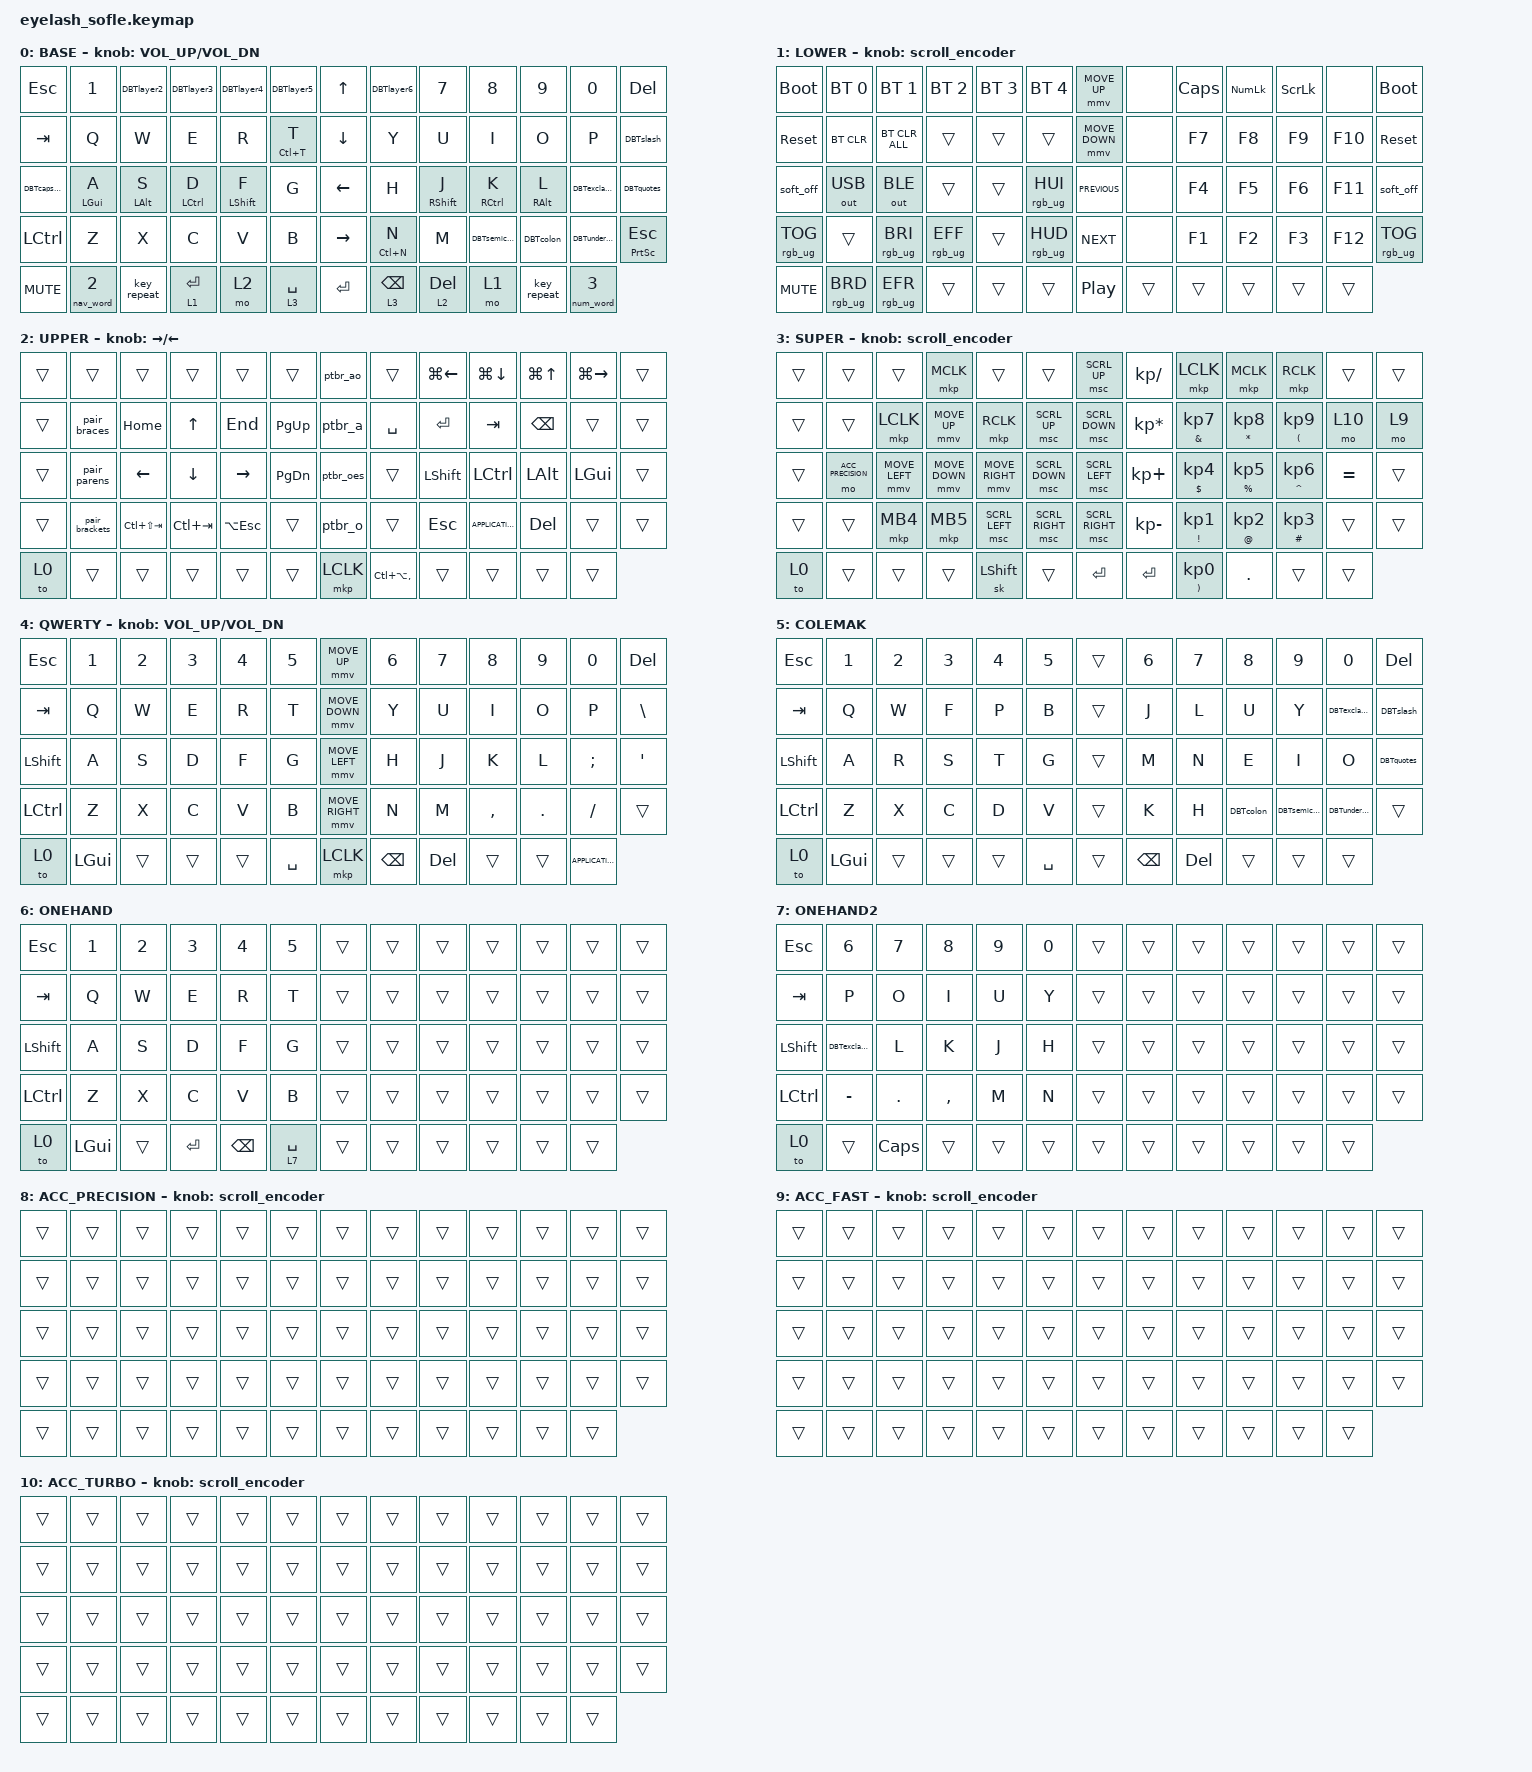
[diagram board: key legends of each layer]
#define ZMK_POINTING_DEFAULT_MOVE_VAL 800
#define ZMK_POINTING_DEFAULT_SCRL_VAL 15    // 10
#define ACC_PRECISION 8
#define ACC_FAST 9
#define ACC_TURBO 10

#include <input/processors.dtsi>
#include <zephyr/dt-bindings/input/input-event-codes.h>
#include <behaviors.dtsi>
#include <behaviors/num_word.dtsi>
#include <dt-bindings/zmk/bt.h>
#include <dt-bindings/zmk/keys.h>
#include <dt-bindings/zmk/outputs.h>
#include <dt-bindings/zmk/pointing.h>
#include <dt-bindings/zmk/rgb.h>


/ {
    zip_scroll_scaler: zip_scroll_scaler {
        compatible = "zmk,input-processor-scaler";
        #input-processor-cells = <2>;
        type = <INPUT_EV_REL>;
        codes = <INPUT_REL_WHEEL INPUT_REL_HWHEEL>;
        track-remainders;
    };
};

&mmv_input_listener {
    // Normal movement speed.
    // If this feels too slow compared to your current setup, change this to <&zip_xy_scaler 2 1>.

    input-processors = <&zip_xy_scaler 3 1>;

    // ACC2 / turbo: 4x speed.
    // Declared first so it wins if multiple ACC layers are somehow active.

    acc_turbo {
        layers = <ACC_TURBO>;
        input-processors = <&zip_xy_scaler 7 1>;
    };

    // ACC1 / fast: 2x speed.

    acc_fast {
        layers = <ACC_FAST>;
        input-processors = <&zip_xy_scaler 2 1>;
    };

    // ACC0 / precision: 1/3 speed.

    acc_precision {
        layers = <ACC_PRECISION>;
        input-processors = <&zip_xy_scaler 1 2>;
    };
};

&msc_input_listener { input-processors = <&zip_scroll_scaler 2 1>; };

&msc {
};

&mmv {
    trigger-period-ms = <5>;
    time-to-max-speed-ms = <0>;
    acceleration-exponent = <0>;
    delay-ms = <2>;
};

&lt {
    flavor = "balanced";
    hold-trigger-on-release;
};

&caps_word { continue-list = <UNDERSCORE BACKSPACE DELETE GRAVE TILDE DOUBLE_QUOTES MINUS>; };

&sk { quick-release; };

/ {
    scroll_encoder: scroll_encoder {
        compatible = "zmk,behavior-sensor-rotate";
        #sensor-binding-cells = <0>;
        bindings = <&msc SCRL_DOWN>, <&msc SCRL_UP>;

        tap-ms = <30>;
    };

    DBTunderscore: DBTunderscore {
        compatible = "zmk,behavior-tap-dance";
        label = "DBTUNDERSCORE";
        #binding-cells = <0>;
        bindings = <&kp MINUS>, <&kp UNDER>;
    };

    DBTquotes: DBTquotes {
        compatible = "zmk,behavior-tap-dance";
        label = "DBTQUOTES";
        #binding-cells = <0>;
        bindings = <&kp SINGLE_QUOTE>, <&kp DOUBLE_QUOTES>;
    };

    DBTsemicolon: DBTsemicolon {
        compatible = "zmk,behavior-tap-dance";
        label = "DBTSEMICOLON";
        #binding-cells = <0>;
        bindings = <&kp COMMA>, <&kp SEMICOLON>;
    };

    DBTexclamation: DBTexclamation {
        compatible = "zmk,behavior-tap-dance";
        label = "DBTEXCLAMATION";
        #binding-cells = <0>;
        bindings = <&kp QUESTION>, <&kp EXCL>;
    };

    DBTslash: DBTslash {
        compatible = "zmk,behavior-tap-dance";
        label = "DBTSLASH";
        #binding-cells = <0>;
        bindings = <&kp SLASH>, <&kp BACKSLASH>;
    };

    DBTcolon: DBTcolon {
        compatible = "zmk,behavior-tap-dance";
        label = "DBTCOLON";
        #binding-cells = <0>;
        bindings = <&kp PERIOD>, <&kp COLON>;
    };

    longPress: longPress {
        compatible = "zmk,behavior-hold-tap";
        label = "LONGPRESS";
        bindings = <&kp>, <&kp>;

        #binding-cells = <2>;
        tapping-term-ms = <300>;
        flavor = "tap-preferred";
    };

    HMRshift: HMRshift {
        compatible = "zmk,behavior-hold-tap";
        label = "HMRSHIFT";
        bindings = <&kp>, <&kp>;

        #binding-cells = <2>;
        tapping-term-ms = <200>;
        hold-trigger-key-positions = <0 13 14 27 26 39 40 1 44 2 2 3 4 15 16 17 28 29 30 5 18 31 44 41 42 43 44 53 54 55 56 57>;
        hold-trigger-on-release;
        flavor = "balanced";
    };

    HMLshift: HMLshift {
        compatible = "zmk,behavior-hold-tap";
        label = "HMLSHIFT";
        bindings = <&kp>, <&kp>;

        #binding-cells = <2>;
        tapping-term-ms = <200>;
        hold-trigger-on-release;
        hold-trigger-key-positions = <7 8 9 10 11 12 20 21 22 23 24 25 33 34 35 36 37 38 46 47 48 49 50 51 60 61 62 63 59>;
        flavor = "balanced";
    };

    HMR: HMR {
        compatible = "zmk,behavior-hold-tap";
        label = "HMR";
        bindings = <&kp>, <&kp>;

        #binding-cells = <2>;
        tapping-term-ms = <200>;
        hold-trigger-key-positions = <0 13 14 27 26 39 40 1 44 2 2 3 4 15 16 17 28 29 30 5 18 31 44 41 42 43 44 53 54 55 56 57>;
        hold-trigger-on-release;
        flavor = "balanced";
    };

    HML: HML {
        compatible = "zmk,behavior-hold-tap";
        label = "HML";
        bindings = <&kp>, <&kp>;

        #binding-cells = <2>;
        tapping-term-ms = <200>;
        hold-trigger-key-positions = <7 8 9 10 11 12 20 21 22 23 24 25 33 34 35 36 37 38 46 47 48 49 50 51 60 61 62 63 59>;
        flavor = "balanced";
        hold-trigger-on-release;
    };

    DBTcapsword: DBTcapsword {
        compatible = "zmk,behavior-tap-dance";
        label = "DBTCAPSWORD";
        #binding-cells = <0>;
        bindings = <&kp LEFT_SHIFT>, <&sk LEFT_SHIFT>, <&caps_word>;
    };

    DBTlayer2: DBTlayer2 {
        compatible = "zmk,behavior-tap-dance";
        label = "DBTLAYER2";
        #binding-cells = <0>;
        bindings = <&kp NUMBER_2>, <&tog 2>;
    };

    DBTlayer3: DBTlayer3 {
        compatible = "zmk,behavior-tap-dance";
        label = "DBTLAYER3";
        #binding-cells = <0>;
        bindings = <&kp NUMBER_3>, <&tog 3>;
    };

    DBTlayer4: DBTlayer4 {
        compatible = "zmk,behavior-tap-dance";
        label = "DBTLAYER4";
        #binding-cells = <0>;
        bindings = <&kp NUMBER_4>, <&tog 4>;
    };

    DBTlayer5: DBTlayer5 {
        compatible = "zmk,behavior-tap-dance";
        label = "DBTLAYER5";
        #binding-cells = <0>;
        bindings = <&kp NUMBER_5>, <&tog 5>;
    };

    DBTlayer6: DBTlayer6 {
        compatible = "zmk,behavior-tap-dance";
        label = "DBTLAYER6";
        #binding-cells = <0>;
        bindings = <&kp NUMBER_6>, <&tog 6>;
    };

    combos {
        compatible = "zmk,combos";

        softOFF {
            bindings = <&soft_off>;
            key-positions = <14 28 40>;
            timeout-ms = <2000>;
            layers = <1>;
        };

        accent1 {
            bindings = <&kp SINGLE_QUOTE>;
            key-positions = <48 47>;
        };

        accent2 {
            bindings = <&leader_main>;
            key-positions = <20 21>;
        };

        accent3 {
            bindings = <&kp CARET>;
            key-positions = <47 49>;
        };

        accent4 {
            bindings = <&kp GRAVE>;
            key-positions = <48 49>;
        };

        undo {
            bindings = <&kp LC(Z)>;
            key-positions = <40 41>;
        };

        cut {
            bindings = <&kp LC(X)>;
            key-positions = <41 42>;
        };

        copy {
            bindings = <&kp LC(C)>;
            key-positions = <42 43>;
        };

        paste {
            bindings = <&kp LC(V)>;
            key-positions = <43 44>;
        };

        lockscreen {
            bindings = <&kp LG(L)>;
            key-positions = <0 57>;
        };

        oneshotshift {
            bindings = <&sk LEFT_SHIFT>;
            key-positions = <30 31>;
        };
    };

behaviors {
    nav_word: nav_word {
        compatible = "zmk,behavior-auto-layer";
        #binding-cells = <1>;

        /*
         * Keeps layer active while using navigation keys.
         * Good for your layer2 / UPPER nav setup.
         */
        continue-list = <
            LEFT RIGHT UP DOWN
            HOME END
            PG_UP PG_DN
            TAB BSPC DEL ESC
        >;

        ignore-modifiers;
    };

    num_word {
        continue-list = <
            KP_N0 KP_N1 KP_N2 KP_N3 KP_N4
            KP_N5 KP_N6 KP_N7 KP_N8 KP_N9

            KP_DOT
            KP_PLUS
            KP_MINUS
            KP_MULTIPLY
            KP_DIVIDE
            KP_EQUAL

            BSPC DEL
            BACKSPACE DELETE
            ENTER
        >;
        ignore-modifiers;
    };

    leader_main: leader_main {
        compatible = "zmk,behavior-leader-key";
        #binding-cells = <0>;

        /*
         * Output mode commands
         * Leader → U S B = USB output
         * Leader → B L E = BLE output
         */
        usb { sequence = <U S B>; bindings = <&out OUT_USB>; };
        ble { sequence = <B L E>; bindings = <&out OUT_BLE>; };

        /*
         * Bluetooth profile selection
         * Leader → B 0 / B 1 / ... / B 4
         */
        bt0 { sequence = <B N0>; bindings = <&bt BT_SEL 0>; };
        bt1 { sequence = <B N1>; bindings = <&bt BT_SEL 1>; };
        bt2 { sequence = <B N2>; bindings = <&bt BT_SEL 2>; };
        bt3 { sequence = <B N3>; bindings = <&bt BT_SEL 3>; };
        bt4 { sequence = <B N4>; bindings = <&bt BT_SEL 4>; };

        /*
         * Bluetooth maintenance
         */
        btc { sequence = <C L R>; bindings = <&bt BT_CLR>; };

        /*
         * System actions.
         * Keep these on longer sequences so you do not accidentally nuke your flow.
         */
        boot  { sequence = <B O O T>; bindings = <&bootloader>; };
        reset { sequence = <R E S E T>; bindings = <&sys_reset>; };

        /*
         * Your existing PT-BR/accent macros.
         * Avoid strict nested sequences like A and A O together;
         * this module does not support strictly nested sequences.
         */
        pta  { sequence = <P T A>; bindings = <&ptbr_a>; };
        pto  { sequence = <P T O>; bindings = <&ptbr_o>; };
        atao { sequence = <A O>; bindings = <&ptbr_ao>; };
        oesh { sequence = <O E>; bindings = <&ptbr_oes>; };
    };
};

    macros {
        pair_parens: pair_parens {
            compatible = "zmk,behavior-macro";
            #binding-cells = <0>;
            bindings = <&kp LEFT_PARENTHESIS &kp RIGHT_PARENTHESIS &kp LEFT_ARROW>;
            label = "PAIR_PARENS";
        };

        pair_brackets: pair_brackets {
            compatible = "zmk,behavior-macro";
            #binding-cells = <0>;
            bindings = <&kp LEFT_BRACKET &kp RIGHT_BRACKET &kp LEFT_ARROW>;
            label = "PAIR_BRACKETS";
        };

        pair_braces: pair_braces {
            compatible = "zmk,behavior-macro";
            #binding-cells = <0>;
            bindings = <&kp LEFT_BRACE &kp RIGHT_BRACE &kp LEFT_ARROW>;
            label = "PAIR_BRACES";
        };

        ptbr_ao: ptbr_ao {
            compatible = "zmk,behavior-macro";
            #binding-cells = <0>;
            bindings = <&kp TILDE &kp A &kp O>;
            label = "PTBR_AO";
        };

        ptbr_oes: ptbr_oes {
            compatible = "zmk,behavior-macro";
            #binding-cells = <0>;
            bindings = <&none &kp TILDE &kp O &kp E &kp S>;
            label = "PTBR_OES";
        };

        ptbr_a: ptbr_a {
            compatible = "zmk,behavior-macro";
            #binding-cells = <0>;
            bindings = <&kp TILDE &kp A>;
            label = "PTBR_A";
        };

        ptbr_o: ptbr_o {
            compatible = "zmk,behavior-macro";
            #binding-cells = <0>;
            bindings = <&none &kp TILDE &kp O>;
            label = "PTBR_O";
        };

        rgblayer: colortest {
            compatible = "zmk,behavior-macro-two-param";
            #binding-cells = <2>;
            bindings =
                <&macro_press>,
                <&macro_param_1to1 &mo MACRO_PLACEHOLDER>,
                <&macro_tap>,
                <&macro_param_2to2 &rgb_ug RGB_COLOR_HSB_CMD MACRO_PLACEHOLDER>,
                <&macro_pause_for_release>,
                <&macro_release>,
                <&macro_param_1to1 &mo MACRO_PLACEHOLDER>,
                <&macro_tap>,
                <&rgb_ug RGB_OFF>;

            label = "COLORTEST";
        };
    };

    keymap {
        compatible = "zmk,keymap";

        layer0 {
            bindings = <
&kp ESC           &kp N1                                   &DBTlayer2       &DBTlayer3           &DBTlayer4              &DBTlayer5            &kp UP_ARROW     &DBTlayer6          &kp N7                   &kp N8                &kp N9            &kp N0           &kp DELETE
&kp TAB           &kp Q                                    &kp W            &kp E                &kp R                   &longPress LC(T) T    &kp DOWN_ARROW   &kp Y               &kp U                    &kp I                 &kp O             &kp P            &DBTslash
&DBTcapsword      &HML LEFT_GUI A                          &HML LEFT_ALT S  &HML LEFT_CONTROL D  &HMLshift LEFT_SHIFT F  &kp G                 &kp LEFT_ARROW   &kp H               &HMRshift RIGHT_SHIFT J  &HMR RIGHT_CONTROL K  &HMR RIGHT_ALT L  &DBTexclamation  &DBTquotes
&kp LEFT_CONTROL  &kp Z                                    &kp X            &kp C                &kp V                   &kp B                 &kp RIGHT_ARROW  &longPress LC(N) N  &kp M                    &DBTsemicolon         &DBTcolon         &DBTunderscore   &longPress PRINTSCREEN ESCAPE
&kp C_MUTE        &nav_word 2  &key_repeat      &lt 1 ENTER          &mo 2                   &lt 3 SPACE           &kp ENTER        &lt 3 BACKSPACE     &lt 2 DELETE             &mo 1                 &key_repeat       &num_word 3 
            >;

            sensor-bindings = <&inc_dec_kp C_VOLUME_UP C_VOL_DN>;
            display-name = "BASE";
            label = "BASE";
        };

        layer1 {
            bindings = <
&bootloader      &bt BT_SEL 0     &bt BT_SEL 1     &bt BT_SEL 2     &bt BT_SEL 3  &bt BT_SEL 4       &mmv MOVE_UP      &none   &kp CAPSLOCK  &kp KP_NUMLOCK  &kp SCROLLLOCK  &none    &bootloader
&sys_reset       &bt BT_CLR       &bt BT_CLR_ALL   &trans           &trans        &trans             &mmv MOVE_DOWN    &none   &kp F7        &kp F8          &kp F9          &kp F10  &sys_reset
&soft_off        &out OUT_USB     &out OUT_BLE     &trans           &trans        &rgb_ug RGB_HUI    &kp C_PREVIOUS    &none   &kp F4        &kp F5          &kp F6          &kp F11  &soft_off
&rgb_ug RGB_TOG  &trans           &rgb_ug RGB_BRI  &rgb_ug RGB_EFF  &trans        &rgb_ug RGB_HUD    &kp C_NEXT        &none   &kp F1        &kp F2          &kp F3          &kp F12  &rgb_ug RGB_TOG
&kp C_MUTE       &rgb_ug RGB_BRD  &rgb_ug RGB_EFR  &trans           &trans        &trans             &kp C_PLAY_PAUSE  &trans  &trans        &trans          &trans          &trans
            >;

            display-name = "LOWER";
            sensor-bindings = <&scroll_encoder>;
            label = "LOWER";
        };

        layer2 {
            bindings = <
&trans  &trans          &trans           &trans          &trans           &trans           &ptbr_ao   &trans             &kp LG(LEFT)    &kp LG(DOWN)       &kp LG(UP_ARROW)  &kp LG(RIGHT)  &trans
&trans  &pair_braces    &kp HOME         &kp UP_ARROW    &kp END          &kp PAGE_UP      &ptbr_a    &kp SPACE          &kp ENTER       &kp TAB            &kp BACKSPACE     &trans         &trans
&trans  &pair_parens    &kp LEFT_ARROW   &kp DOWN_ARROW  &kp RIGHT_ARROW  &kp PAGE_DOWN    &ptbr_oes  &trans             &kp LEFT_SHIFT  &kp LEFT_CONTROL   &kp LEFT_ALT      &kp LEFT_GUI   &trans
&trans  &pair_brackets  &kp LC(LS(TAB))  &kp LC(TAB)     &kp LA(ESC)      &trans           &ptbr_o    &trans             &kp ESCAPE      &kp K_APPLICATION  &kp DELETE        &trans         &trans
&to 0   &trans          &trans           &trans          &trans           &trans           &mkp LCLK  &kp LC(LA(COMMA))  &trans          &trans             &trans            &trans
            >;

            sensor-bindings = <&inc_dec_kp RIGHT_ARROW LEFT_ARROW>;
            label = "UPPER";
        };

        layer3 {
            bindings = <
&trans  &trans             &trans          &mkp MCLK       &trans           &trans             &msc SCRL_UP     &kp KP_DIVIDE    &mkp LCLK                           &mkp MCLK                  &mkp RCLK                          &trans     &trans
&trans  &trans            &mkp LCLK       &mmv MOVE_UP    &mkp RCLK        &msc SCRL_UP       &msc SCRL_DOWN   &kp KP_MULTIPLY  &longPress AMPERSAND KP_N7          &longPress ASTERISK KP_N8  &longPress LEFT_PARENTHESIS KP_N9  &mo 10     &mo 9
&trans  &mo ACC_PRECISION  &mmv MOVE_LEFT  &mmv MOVE_DOWN  &mmv MOVE_RIGHT  &msc SCRL_DOWN     &msc SCRL_LEFT   &kp KP_PLUS      &longPress DOLLAR KP_N4             &longPress PERCENT KP_N5   &longPress CARET KP_N6             &kp EQUAL  &trans
&trans  &trans             &mkp MB4        &mkp MB5        &msc SCRL_LEFT   &msc SCRL_RIGHT    &msc SCRL_RIGHT  &kp KP_MINUS     &longPress EXCL KP_N1               &longPress AT KP_N2        &longPress HASH KP_N3              &trans     &trans
&to 0   &trans             &trans          &trans          &sk LEFT_SHIFT   &trans             &kp ENTER        &kp ENTER        &longPress RIGHT_PARENTHESIS KP_N0  &kp DOT                    &trans                             &trans
            >;

            sensor-bindings = <&scroll_encoder>;
            label = "SUPER";
        };

        layer4 {
            bindings = <
&kp ESCAPE  &kp N1        &kp N2  &kp N3  &kp N4  &kp N5       &mmv MOVE_UP     &kp N6         &kp N7      &kp N8     &kp N9   &kp N0             &kp DELETE
&kp TAB     &kp Q         &kp W   &kp E   &kp R   &kp T        &mmv MOVE_DOWN   &kp Y          &kp U       &kp I      &kp O    &kp P              &kp BACKSLASH
&kp LSHFT   &kp A         &kp S   &kp D   &kp F   &kp G        &mmv MOVE_LEFT   &kp H          &kp J       &kp K      &kp L    &kp SEMI           &kp SINGLE_QUOTE
&kp LCTRL   &kp Z         &kp X   &kp C   &kp V   &kp B        &mmv MOVE_RIGHT  &kp N          &kp M       &kp COMMA  &kp DOT  &kp FSLH           &trans
&to 0       &kp LEFT_GUI  &trans  &trans  &trans  &kp SPACE    &mkp LCLK        &kp BACKSPACE  &kp DELETE  &trans     &trans   &kp K_APPLICATION
            >;

            label = "QWERTY";
            sensor-bindings = <&inc_dec_kp C_VOL_UP C_VOL_DN>;
        };

        layer5 {
            bindings = <
&kp ESC    &kp N1        &kp N2  &kp N3  &kp N4  &kp N5       &trans  &kp N6    &kp N7      &kp N8     &kp N9         &kp N0           &kp DEL
&kp TAB    &kp Q         &kp W   &kp F   &kp P   &kp B        &trans  &kp J     &kp L       &kp U      &kp Y          &DBTexclamation  &DBTslash
&kp LSHFT  &kp A         &kp R   &kp S   &kp T   &kp G        &trans  &kp M     &kp N       &kp E      &kp I          &kp O            &DBTquotes
&kp LCTRL  &kp Z         &kp X   &kp C   &kp D   &kp V        &trans  &kp K     &kp H       &DBTcolon  &DBTsemicolon  &DBTunderscore   &trans
&to 0      &kp LEFT_GUI  &trans  &trans  &trans  &kp SPACE    &trans  &kp BSPC  &kp DELETE  &trans     &trans         &trans
            >;

            label = "COLEMAK";
        };

        layer6 {
            bindings = <
&kp ESC    &kp N1        &kp N2  &kp N3     &kp N4         &kp N5         &trans  &trans  &trans  &trans  &trans  &trans  &trans
&kp TAB    &kp Q         &kp W   &kp E      &kp R          &kp T          &trans  &trans  &trans  &trans  &trans  &trans  &trans
&kp LSHFT  &kp A         &kp S   &kp D      &kp F          &kp G          &trans  &trans  &trans  &trans  &trans  &trans  &trans
&kp LCTRL  &kp Z         &kp X   &kp C      &kp V          &kp B          &trans  &trans  &trans  &trans  &trans  &trans  &trans
&to 0      &kp LEFT_GUI  &trans  &kp ENTER  &kp BACKSPACE  &lt 7 SPACE    &trans  &trans  &trans  &trans  &trans  &trans
            >;

            label = "ONEHAND";
        };

        layer7 {
            bindings = <
&kp ESC    &kp N6           &kp N7      &kp N8     &kp N9  &kp N0    &trans  &trans  &trans  &trans  &trans  &trans  &trans
&kp TAB    &kp P            &kp O       &kp I      &kp U   &kp Y     &trans  &trans  &trans  &trans  &trans  &trans  &trans
&kp LSHFT  &DBTexclamation  &kp L       &kp K      &kp J   &kp H     &trans  &trans  &trans  &trans  &trans  &trans  &trans
&kp LCTRL  &kp MINUS        &kp PERIOD  &kp COMMA  &kp M   &kp N     &trans  &trans  &trans  &trans  &trans  &trans  &trans
&to 0      &trans           &kp CAPS    &trans     &trans  &trans    &trans  &trans  &trans  &trans  &trans  &trans
            >;

            label = "ONEHAND2";
        };

        layer8 {
            label = "ACC_PRECISION";
            bindings = <
&trans  &trans  &trans  &trans  &trans  &trans    &trans  &trans  &trans  &trans  &trans  &trans  &trans
&trans  &trans  &trans  &trans  &trans  &trans    &trans  &trans  &trans  &trans  &trans  &trans  &trans
&trans  &trans  &trans  &trans  &trans  &trans    &trans  &trans  &trans  &trans  &trans  &trans  &trans
&trans  &trans  &trans  &trans  &trans  &trans    &trans  &trans  &trans  &trans  &trans  &trans  &trans
&trans  &trans  &trans  &trans  &trans  &trans    &trans  &trans  &trans  &trans  &trans  &trans
            >;

            sensor-bindings = <&scroll_encoder>;
        };

        layer9 {
            label = "ACC_FAST";
            bindings = <
&trans  &trans  &trans  &trans  &trans  &trans    &trans  &trans  &trans  &trans  &trans  &trans  &trans
&trans  &trans  &trans  &trans  &trans  &trans    &trans  &trans  &trans  &trans  &trans  &trans  &trans
&trans  &trans  &trans  &trans  &trans  &trans    &trans  &trans  &trans  &trans  &trans  &trans  &trans
&trans  &trans  &trans  &trans  &trans  &trans    &trans  &trans  &trans  &trans  &trans  &trans  &trans
&trans  &trans  &trans  &trans  &trans  &trans    &trans  &trans  &trans  &trans  &trans  &trans
            >;

            sensor-bindings = <&scroll_encoder>;
        };

        layer10 {
            label = "ACC_TURBO";
            bindings = <
&trans  &trans  &trans  &trans  &trans  &trans    &trans  &trans  &trans  &trans  &trans  &trans  &trans
&trans  &trans  &trans  &trans  &trans  &trans    &trans  &trans  &trans  &trans  &trans  &trans  &trans
&trans  &trans  &trans  &trans  &trans  &trans    &trans  &trans  &trans  &trans  &trans  &trans  &trans
&trans  &trans  &trans  &trans  &trans  &trans    &trans  &trans  &trans  &trans  &trans  &trans  &trans
&trans  &trans  &trans  &trans  &trans  &trans    &trans  &trans  &trans  &trans  &trans  &trans
            >;

            sensor-bindings = <&scroll_encoder>;
        };
    };
};
